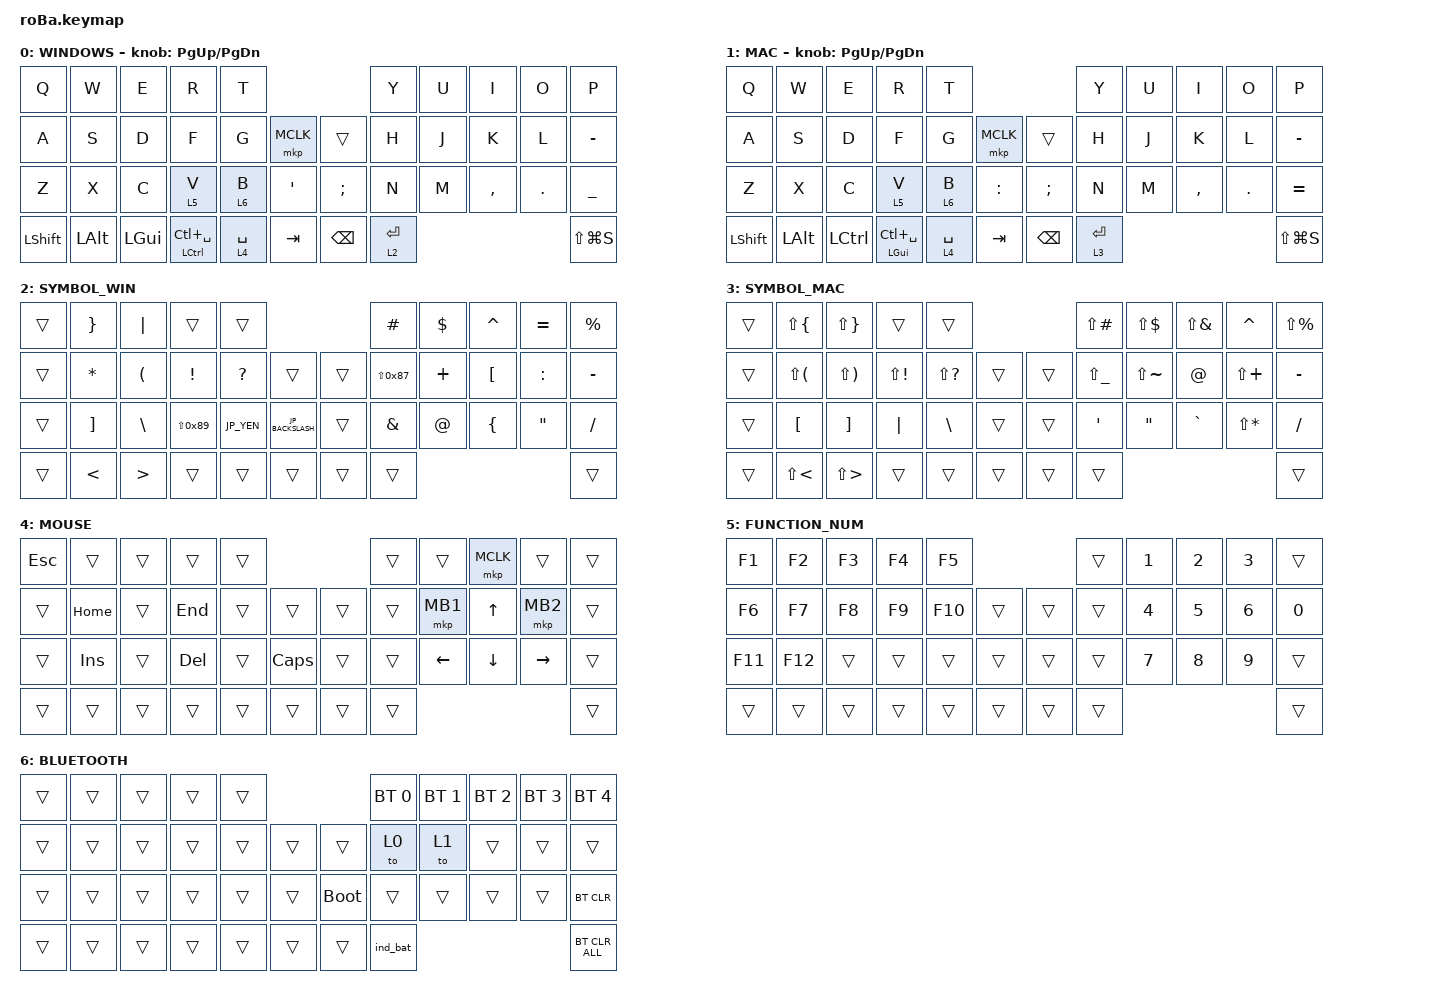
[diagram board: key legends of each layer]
#include <behaviors.dtsi>
#include <behaviors/rgbled_widget.dtsi>
#include <dt-bindings/zmk/bt.h>
#include <dt-bindings/zmk/keys.h>
#include <dt-bindings/zmk/pointing.h>

// OS設定を日本語キーボードのまま使用するための変換定義

#define JP_DQUOTE       AT                // "
#define JP_AMPERSAND    CARET             // &
#define JP_QUOTE        AMPERSAND         // '
#define JP_EQUAL        UNDER             // =
#define JP_CARET        EQUAL             // ^
#define JP_YEN          0x89              // ¥
#define JP_PLUS         COLON             // +
#define JP_TILDE        PLUS              // ~
#define JP_PIPE         LS(0x89)          // |
#define JP_AT           LEFT_BRACKET      // @
#define JP_COLON        SINGLE_QUOTE      // :
#define JP_ASTERISK     DOUBLE_QUOTES     // *
#define JP_BACKQUOTE    LEFT_BRACE        // `
#define JP_UNDERSCORE   LS(0x87)          // _
#define JP_BACKSLASH    0x73          // バクすら
#define JP_LBRACKET     RIGHT_BRACKET     // [
#define JP_RBRACKET     BACKSLASH         // ]
#define JP_LPAREN       ASTERISK          // (
#define JP_RPAREN       LEFT_PARENTHESIS  // )
#define JP_LBRACE       RIGHT_BRACE       // {
#define JP_RBRACE       PIPE              // }
#define JP_KANA         LANGUAGE_1        // かな
#define JP_EISU         LANGUAGE_2        // 英数
#define JP_HANZEN       GRAVE             // 半角/全角

&mt {
    flavor = "balanced";
    quick-tap-ms = <0>;
};

&trackball {
    automouse-layer = <4>;
    scroll-layers = <5>;

    // arrows {
    //     layers = <3>;
    //     bindings =
    //         <&kp RIGHT_ARROW>,
    //         <&kp LEFT_ARROW>,
    //         <&kp UP_ARROW>,
    //         <&kp DOWN_ARROW>;
    //     tick = <10>;
    //     wait-ms = <5>;
    //     tap-ms = <5>;
    // };
};

/ {
    combos { compatible = "zmk,combos"; };

    macros {
        to_layer_0: to_layer_0 {
            compatible = "zmk,behavior-macro-one-param";
            #binding-cells = <1>;
            bindings = <&to 0 &macro_param_1to1 &kp MACRO_PLACEHOLDER>;
            label = "TO_LAYER_0";
        };
    };

    behaviors {
        lt_to_layer_0: lt_to_layer_0 {
            compatible = "zmk,behavior-hold-tap";
            label = "LAYER_TAP_TO_0";
            bindings = <&mo>, <&to_layer_0>;

            #binding-cells = <2>;
            tapping-term-ms = <200>;
        };
    };

    keymap {
        compatible = "zmk,keymap";

        WINDOWS {
            bindings = <
&kp Q           &kp W     &kp E         &kp R                       &kp T                                         &kp Y        &kp U  &kp I      &kp O    &kp P
&kp A           &kp S     &kp D         &kp F                       &kp G        &mkp MCLK         &trans         &kp H        &kp J  &kp K      &kp L    &kp MINUS
&kp Z           &kp X     &kp C         &lt 5 V                     &lt 6 B      &kp JP_COLON      &kp SEMICOLON  &kp N        &kp M  &kp COMMA  &kp DOT  &kp JP_EQUAL
&kp LEFT_SHIFT  &kp LALT  &kp LEFT_GUI  &mt LEFT_CONTROL LC(SPACE)  &lt 4 SPACE  &kp TAB           &kp BSPC       &lt 2 ENTER                             &kp LS(LG(S))
            >;

            sensor-bindings = <&inc_dec_kp PAGE_UP PAGE_DOWN>;
        };

        MAC {
            bindings = <
&kp Q           &kp W         &kp E             &kp R                   &kp T                                      &kp Y        &kp U  &kp I      &kp O    &kp P
&kp A           &kp S         &kp D             &kp F                   &kp G        &mkp MCLK      &trans         &kp H        &kp J  &kp K      &kp L    &kp MINUS
&kp Z           &kp X         &kp C             &lt 5 V                 &lt 6 B      &kp COLON      &kp SEMICOLON  &kp N        &kp M  &kp COMMA  &kp DOT  &kp EQUAL
&kp LEFT_SHIFT  &kp LEFT_ALT  &kp LEFT_CONTROL  &mt LEFT_GUI LC(SPACE)  &lt 4 SPACE  &kp TAB        &kp BACKSPACE  &lt 3 ENTER                             &kp LS(LG(S))
            >;

            sensor-bindings = <&inc_dec_kp PAGE_UP PAGE_DOWN>;
        };

        SYMBOL_WIN {
            bindings = <
&trans  &kp JP_LBRACE    &kp JP_RBRACE     &trans           &trans                                      &kp HASH           &kp DOLLAR     &kp JP_AMPERSAND  &kp JP_CARET     &kp PERCENT
&trans  &kp JP_LPAREN    &kp JP_RPAREN     &kp EXCLAMATION  &kp QUESTION  &trans                &trans  &kp JP_UNDERSCORE  &kp JP_TILDE   &kp JP_AT         &kp JP_PLUS      &kp MINUS
&trans  &kp JP_LBRACKET  &kp JP_RBRACKET   &kp JP_PIPE      &kp JP_YEN    &kp JP_BACKSLASH      &trans  &kp JP_QUOTE       &kp JP_DQUOTE  &kp JP_BACKQUOTE  &kp JP_ASTERISK  &kp SLASH
&trans  &kp LESS_THAN    &kp GREATER_THAN  &trans           &trans        &trans                &trans  &trans                                                               &trans
            >;
        };

        SYMBOL_MAC {
            bindings = <
&trans  &kp LS(LBRC)  &kp LS(RBRC)  &trans        &trans                             &kp LS(POUND)     &kp LS(DLLR)       &kp LS(AMPS)  &kp CARET     &kp LS(PRCNT)
&trans  &kp LS(LPAR)  &kp LS(RPAR)  &kp LS(EXCL)  &kp LS(QMARK)  &trans      &trans  &kp LS(UNDER)     &kp LS(TILDE)      &kp AT        &kp LS(PLUS)  &kp MINUS
&trans  &kp LBKT      &kp RBKT      &kp PIPE      &kp BSLH       &trans      &trans  &kp SINGLE_QUOTE  &kp DOUBLE_QUOTES  &kp GRAVE     &kp LS(STAR)  &kp FSLH
&trans  &kp LS(LT)    &kp LS(GT)    &trans        &trans         &trans      &trans  &trans                                                           &trans
            >;
        };

        MOUSE {
            bindings = <
&kp ESCAPE  &trans      &trans  &trans      &trans                            &trans  &trans          &mkp MCLK       &trans           &trans
&trans      &kp HOME    &trans  &kp END     &trans  &trans            &trans  &trans  &mkp MB1        &kp UP_ARROW    &mkp MB2         &trans
&trans      &kp INSERT  &trans  &kp DELETE  &trans  &kp CAPSLOCK      &trans  &trans  &kp LEFT_ARROW  &kp DOWN_ARROW  &kp RIGHT_ARROW  &trans
&trans      &trans      &trans  &trans      &trans  &trans            &trans  &trans                                                   &trans
            >;
        };

        FUNCTION_NUM {
            bindings = <
&kp F1   &kp F2   &kp F3  &kp F4  &kp F5                       &trans  &kp NUMBER_1  &kp NUMBER_2  &kp NUMBER_3  &trans
&kp F6   &kp F7   &kp F8  &kp F9  &kp F10  &trans      &trans  &trans  &kp NUMBER_4  &kp N5        &kp NUMBER_6  &kp N0
&kp F11  &kp F12  &trans  &trans  &trans   &trans      &trans  &trans  &kp N7        &kp N8        &kp N9        &trans
&trans   &trans   &trans  &trans  &trans   &trans      &trans  &trans                                            &trans
            >;
        };

        BLUETOOTH {
            bindings = <
&trans  &trans  &trans  &trans  &trans                           &bt BT_SEL 0  &bt BT_SEL 1  &bt BT_SEL 2  &bt BT_SEL 3  &bt BT_SEL 4
&trans  &trans  &trans  &trans  &trans  &trans      &trans       &to 0         &to 1         &trans        &trans        &trans
&trans  &trans  &trans  &trans  &trans  &trans      &bootloader  &trans        &trans        &trans        &trans        &bt BT_CLR
&trans  &trans  &trans  &trans  &trans  &trans      &trans       &ind_bat                                                &bt BT_CLR_ALL
            >;
        };
    };
};
